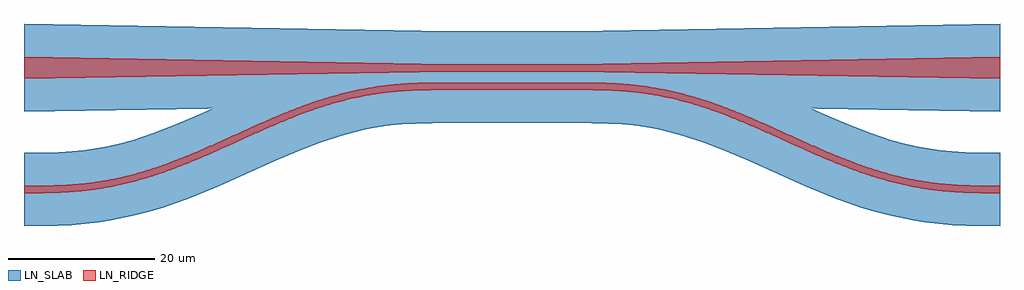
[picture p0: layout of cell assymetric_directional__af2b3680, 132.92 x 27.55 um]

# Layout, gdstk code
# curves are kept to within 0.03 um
from math import pi, radians
import gdstk
lib = gdstk.Library(unit=1e-6, precision=1e-09)
def R(c, l, rs):  # rectangles x0, y0, x1, y1
    for r in rs: c.add(gdstk.rectangle(r[:2], r[2:], *l))
def P(c, l, *ps):  # polygons
    for p in ps: c.add(gdstk.Polygon(p, *l))
LN_RIDGE = (2, 0)
LN_SLAB = (3, 0)

bend_s_spline_varying_w_ = lib.new_cell('bend_S_spline_varying_w_959a93c1')
P(bend_s_spline_varying_w_, LN_RIDGE, [(0,-0.5),(0,0.5),(4.908,0.575),(6.92,0.7),(8.928,0.905),(10.935,1.203),(12.942,1.597),(14.95,2.089),(16.96,2.676),(19.548,3.558),(23.007,4.921),(25.897,6.173),(32.569,9.176),(36.356,10.764),(39.862,12.044),(43.083,13.004),(44.549,13.364),(46.309,13.728),(48.068,14.019),(49.828,14.238),(53.34,14.486),(58,14.55),(58,13.55),(53.092,13.475),(51.08,13.35),(49.072,13.145),(47.065,12.847),(45.058,12.453),(43.05,11.961),(41.04,11.374),(38.452,10.492),(34.993,9.129),(32.103,7.877),(25.431,4.874),(21.644,3.286),(18.138,2.006),(14.917,1.046),(13.451,0.686),(11.691,0.322),(9.932,0.031),(8.172,-0.188),(4.66,-0.436)])
P(bend_s_spline_varying_w_, LN_SLAB, [(0,-5),(0,5),(4.71,5.071),(6.556,5.185),(8.113,5.339),(9.915,5.594),(11.456,5.881),(13.004,6.234),(14.824,6.729),(17.734,7.687),(20.718,8.844),(23.784,10.159),(31.36,13.558),(35.32,15.19),(39.074,16.52),(40.982,17.096),(42.905,17.6),(46.132,18.268),(47.747,18.518),(49.677,18.746),(51.59,18.902),(53.475,18.994),(58,19.05),(58,9.05),(53.29,8.979),(51.444,8.865),(49.887,8.711),(48.085,8.456),(46.544,8.169),(44.996,7.816),(43.176,7.321),(40.266,6.363),(37.282,5.206),(34.216,3.891),(26.64,0.492),(22.68,-1.14),(18.926,-2.47),(17.018,-3.046),(15.095,-3.55),(11.868,-4.218),(10.253,-4.468),(8.323,-4.696),(6.41,-4.852),(4.525,-4.944)])

c_bend_s_spline_varying_w_ = lib.new_cell('bend_S_spline_varying_w_07a2beae')
P(c_bend_s_spline_varying_w_, LN_RIDGE, [(0,-1.5),(0,1.5),(58,0.5),(58,-0.5)])
P(c_bend_s_spline_varying_w_, LN_SLAB, [(0,-6),(0,6),(58,5),(58,-5)])

straight_l16p92_n2_csxs_ = lib.new_cell('straight_L16p92_N2_CSxs_182aba0d')
R(straight_l16p92_n2_csxs_, LN_RIDGE, [(0,-0.5,16.92,0.5)])
R(straight_l16p92_n2_csxs_, LN_SLAB, [(0,-5,16.92,5)])

c_straight_l16p92_n2_csxs_ = lib.new_cell('straight_L16p92_N2_CSxs_bde355dc')
R(c_straight_l16p92_n2_csxs_, LN_RIDGE, [(0,-0.5,16.92,0.5)])
R(c_straight_l16p92_n2_csxs_, LN_SLAB, [(0,-5,16.92,5)])

c_bend_s_spline_varying_w__ = lib.new_cell('bend_S_spline_varying_w_c8840f79')
P(c_bend_s_spline_varying_w__, LN_RIDGE, [(58,-1.5),(0,-0.5),(0,0.5),(58,1.5)])
P(c_bend_s_spline_varying_w__, LN_SLAB, [(58,-6),(0,-5),(0,5),(58,6)])

assymetric_directional__ = lib.new_cell('assymetric_directional__af2b3680')
assymetric_directional__.add(gdstk.Reference(bend_s_spline_varying_w_, (-8.46,-1.25), rotation=pi))
assymetric_directional__.add(gdstk.Reference(c_bend_s_spline_varying_w_, (-66.46,1.25)))
assymetric_directional__.add(gdstk.Reference(straight_l16p92_n2_csxs_, (-8.46,-1.25)))
assymetric_directional__.add(gdstk.Reference(c_straight_l16p92_n2_csxs_, (-8.46,1.25)))
assymetric_directional__.add(gdstk.Reference(bend_s_spline_varying_w_, (8.46,-1.25), x_reflection=True))
assymetric_directional__.add(gdstk.Reference(c_bend_s_spline_varying_w__, (8.46,1.25)))

lib.write_gds('assymetric_directional__af2b3680.gds')
